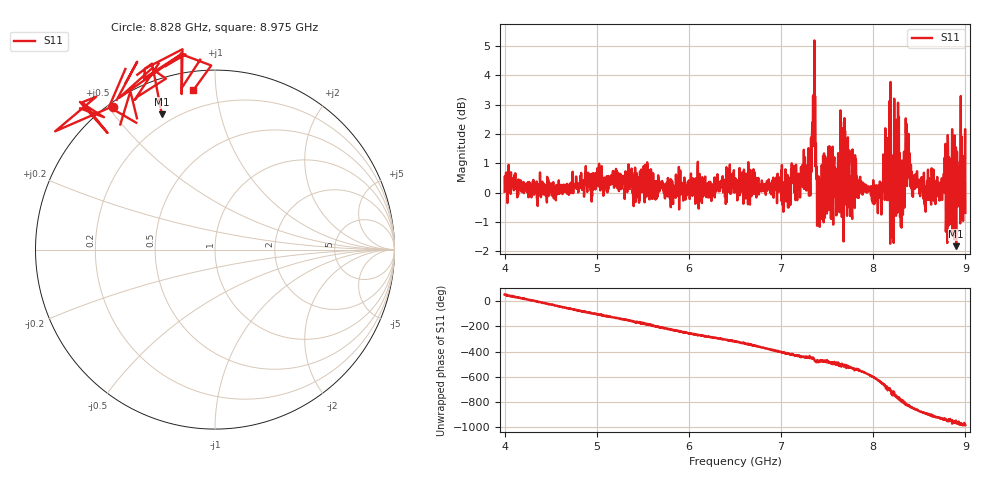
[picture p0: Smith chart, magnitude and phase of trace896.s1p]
! Created with skrf 1.8.0 (http://scikit-rf.org).
# Hz S RI R 50.0
!freq ReS11 ImS11
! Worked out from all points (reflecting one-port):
!   1601 points, 4 GHz to 9 GHz, reference 50 ohm
!   lowest |S11| = -1.8 dB at 8.9 GHz (marker M1), VSWR 9.55, Z = 7.63 + j33.5 ohm
!   phase of S11 starts at 54 deg and turns -1039 deg over the sweep
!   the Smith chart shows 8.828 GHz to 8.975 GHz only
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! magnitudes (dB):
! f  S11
! 4 GHz  0.0
! 4.625 GHz  0.0
! 5.25 GHz  0.2
! 5.875 GHz  0.0
! 6.5 GHz  0.4
! 7.125 GHz  0.4
! 7.297 GHz  1.5
! 7.328 GHz  0.7
! 7.35 GHz  2.1
! 7.362 GHz  5.2
! 7.412 GHz  -0.2
! 7.512 GHz  1.6
! 7.588 GHz  0.0
! 7.647 GHz  1.6
! 7.75 GHz  -0.8
! 8.066 GHz  0.2
! 8.153 GHz  1.1
! 8.216 GHz  0.1
! 8.253 GHz  1.2
! 8.316 GHz  0.7
! 8.334 GHz  1.4
! 8.375 GHz  0.6
! 8.431 GHz  -0.1
! 8.556 GHz  -0.4
! 8.834 GHz  0.9
! 8.9 GHz  -1.8
! 8.972 GHz  0.2
! 9 GHz  -0.7
